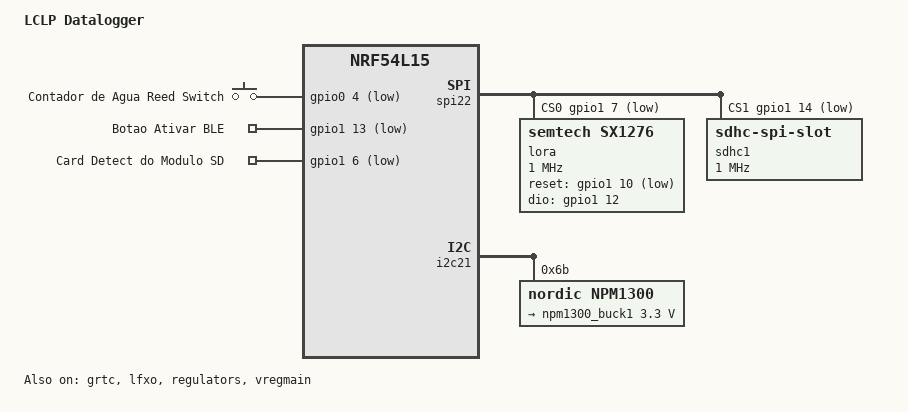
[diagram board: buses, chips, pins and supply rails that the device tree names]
/dts-v1/;
#include <nordic/nrf54l15_cpuapp.dtsi>
#include "LCLPv4-pinctrl.dtsi"
#include <zephyr/dt-bindings/regulator/npm13xx.h>

/ {
	model = "LCLP Datalogger";
	compatible = "LCLPGroup,LCLPv4-cpuapp";

	chosen {
		zephyr,code-partition = &slot0_partition;
		zephyr,sram = &cpuapp_sram;
		zephyr,flash = &cpuapp_rram;
		zephyr,flash-controller = &rram_controller;
		zephyr,console = &uart30;
	};
};


/ {
    aliases {
        lora0 = &lora;
        watchdog0 = &wdt31;
        sensoragua = &meu_pino_agua;
        cartaosdcd = &pino_cd_sd;
        botaoble = &meu_botao_ble;
    };

    reserved-memory {
        #address-cells = <1>;
        #size-cells = <1>;
        ranges;
    };
};



&grtc {
	owned-channels = <0 1 2 3 4 5 6 7 8 9 10 11>;
	/* Channels 7-11 reserved for Zero Latency IRQs, 3-4 for FLPR */
	child-owned-channels = <3 4 7 8 9 10 11>;
	status = "okay";
};

&cpuapp_sram {
	status = "okay";
};

&cpuapp_rram {
	partitions {
		compatible = "fixed-partitions";
		#address-cells = <1>;
		#size-cells = <1>;

		boot_partition: partition@0 {
			label = "mcuboot";
			reg = <0x0 DT_SIZE_K(64)>;
		};

		slot0_partition: partition@10000 {
			label = "image-0";
			reg = <0x10000 DT_SIZE_K(664)>;
		};

		slot1_partition: partition@b6000 {
			label = "image-1";
			reg = <0xb6000 DT_SIZE_K(664)>;
		};

		storage_partition: partition@15c000 {
			label = "storage";
			reg = <0x15c000 DT_SIZE_K(36)>;
		};
	};
};

/ {
    sensores_externos {
        compatible = "gpio-keys";

        /* AGORA NO PORTO 0 (P0.04) */
        meu_pino_agua: sensor_agua_fisico {
            gpios = <&gpio0 4 (GPIO_ACTIVE_LOW)>;
            label = "Contador de Agua Reed Switch";

        };

        /* AGORA NO PORTO 1 (P1.13) */
        meu_botao_ble: botao_ble_fisico {
            gpios = <&gpio1 13 (GPIO_ACTIVE_LOW | GPIO_PULL_UP)>;
            label = "Botao Ativar BLE";

        };

        /* FICA IGUAL (P1.06) */
        pino_cd_sd: detecao_cartao_sd {
            gpios = <&gpio1 6 (GPIO_ACTIVE_LOW )>;
            label = "Card Detect do Modulo SD";

        };
    };
};

&spi22 {
    compatible = "nordic,nrf-spim";
    status = "okay";



    pinctrl-0 = <&spi22_default>;
    pinctrl-1 = <&spi22_sleep>;
    pinctrl-names = "default", "sleep";

    /* index 0 -> LoRa (P1.7)
     * index 1 -> SD   (P1.14)
     */
    cs-gpios = <&gpio1 7  (GPIO_ACTIVE_LOW | GPIO_PULL_UP)>,   /* idx 0: LoRa */
               <&gpio1 14 (GPIO_ACTIVE_LOW | GPIO_PULL_UP)>;   /* idx 1: SD   */

    lora: sx1276@0 {
        compatible = "semtech,sx1276";
        reg = <0>;                    /* usa cs-gpios[0] = GPIO1.7 */
        status = "okay";
        spi-max-frequency = <1000000>;

        reset-gpios = <&gpio1 10 GPIO_ACTIVE_LOW>;
        dio-gpios = <&gpio1 12 (GPIO_PULL_DOWN | GPIO_ACTIVE_HIGH)>;
        power-amplifier-output = "pa-boost";
    };

    sdhc1: sdhc@1 {
        compatible = "zephyr,sdhc-spi-slot";
        reg = <1>;                    /* usa cs-gpios[1] = GPIO1.14 */
        status = "okay";
        spi-max-frequency = <1000000>;

        mmc {
            compatible = "zephyr,sdmmc-disk";
            status = "okay";
            disk-name = "SD";
        };
    };
};

&i2c21 {
    status = "okay";
    pinctrl-0 = <&i2c21_default>;
    pinctrl-1 = <&i2c21_sleep>;
    pinctrl-names = "default", "sleep";

    npm1300@6b {
        compatible = "nordic,npm1300";
        reg = <0x6b>;

        /* FILHO 1: Reguladores */
        npm1300_pmic: regulators {
            compatible = "nordic,npm1300-regulator";

            /* Usar o VOUT1 físico (BUCK1) */
            npm1300_buck1: BUCK1 {
                regulator-min-microvolt = <3300000>;
                regulator-max-microvolt = <3300000>;
                regulator-init-microvolt = <3300000>;
                regulator-boot-off;
                active-discharge;
            };
        };


        /* FILHO 2: Carregador */
        npm1300_charger: charger {
            compatible = "nordic,npm1300-charger";
            status = "okay";

            /* 1. TENSÕES E CORRENTES BÁSICAS */
            term-microvolt = <4200000>;
            term-warm-microvolt = <4000000>;
            current-microamp = <500000>;

            /* 2. LIMITES OBRIGATÓRIOS */
            dischg-limit-microamp = <1000000>;
            vbus-limit-microamp = <500000>;

            /* 3. SEGURANÇA TÉRMICA (OBRIGATÓRIO PELO DRIVER) */
            thermistor-ohms = <10000>;
            thermistor-beta = <3380>;
            charging-enable;
        };



    };
};

&gpio1 {
    status = "okay";
    sense-edge-mask = <0x2040>;
};

&gpio0 {
    status = "okay";
    sense-edge-mask = <0x0010>;
};

/* ---- GPIOTE (obrigatório para gpio0 e gpio1) ---- */
&gpiote20 {
    status = "okay";
    owned-channels = <0>;
};

&gpiote30 {
    status = "okay";
    owned-channels = <0>;
};


&clock {
    status = "okay";
};

&lfxo {
    status = "okay";
    load-capacitors = "internal";
    load-capacitance-femtofarad = <15500>;
    clock-frequency = <32768>;
};


&regulators {
	status = "okay";
};

&vregmain {
	status = "okay";
	regulator-initial-mode = <NRF5X_REG_MODE_DCDC>;
};


#include <nordic/nrf54l15_partition.dtsi>
